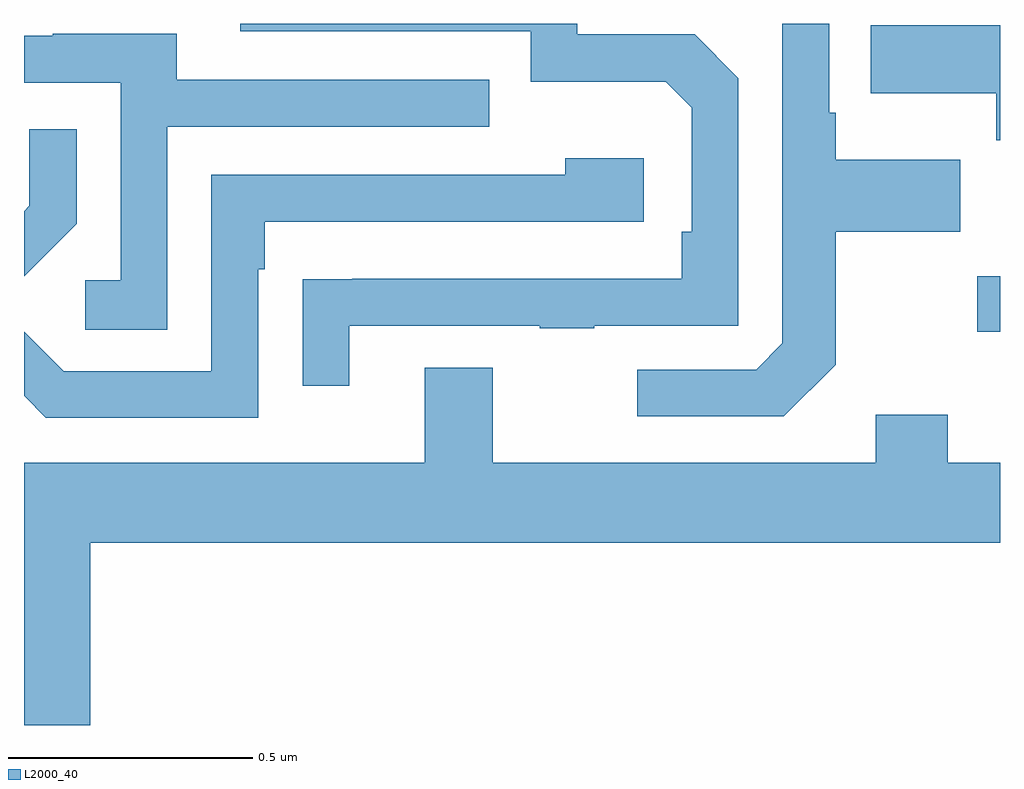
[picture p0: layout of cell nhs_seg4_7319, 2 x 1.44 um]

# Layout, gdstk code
import gdstk
lib = gdstk.Library(unit=1e-6, precision=1e-09)
def R(c, l, rs):  # rectangles x0, y0, x1, y1
    for r in rs: c.add(gdstk.rectangle(r[:2], r[2:], *l))
def P(c, l, *ps):  # polygons
    for p in ps: c.add(gdstk.Polygon(p, *l))
L2000_40 = (2000, 40)

nhs_seg4_7319 = lib.new_cell('nhs_seg4_7319')
R(nhs_seg4_7319, L2000_40, [(202.953,781.269,203,781.382)])
P(nhs_seg4_7319, L2000_40, [(202.663,781.201),(202.663,781.474),(202.919,781.474),(202.919,781.621),(202.663,781.621),(202.663,781.717),(202.65,781.717),(202.65,781.9),(202.554,781.9),(202.554,781.245),(202.5,781.191),(202.257,781.191),(202.257,781.095),(202.557,781.095)],
  [(201.667,781.281),(202.057,781.281),(202.057,781.276),(202.169,781.276),(202.169,781.281),(202.464,781.281),(202.464,781.788),(202.374,781.878),(202.134,781.878),(202.134,781.9),(201.443,781.9),(201.443,781.884),(202.038,781.884),(202.038,781.781),(202.315,781.781),(202.368,781.728),(202.368,781.474),(202.348,781.474),(202.348,781.377),(201.673,781.377),(201.673,781.376),(201.571,781.376),(201.571,781.158),(201.667,781.158)],
  [(203,781.897),(202.735,781.897),(202.735,781.757),(202.992,781.757),(202.992,781.661),(203,781.661)],
  [(201.294,781.689),(201.953,781.689),(201.953,781.785),(201.313,781.785),(201.313,781.879),(201.059,781.879),(201.059,781.875),(201,781.875),(201,781.779),(201.198,781.779),(201.198,781.374),(201.126,781.374),(201.126,781.273),(201.294,781.273)],
  [(201.108,781.49),(201.108,781.684),(201.011,781.684),(201.011,781.527),(201,781.516),(201,781.382)],
  [(201.48,781.397),(201.493,781.397),(201.493,781.494),(202.27,781.494),(202.27,781.624),(202.109,781.624),(202.109,781.59),(201.384,781.59),(201.384,781.188),(201.081,781.188),(201,781.269),(201,781.137),(201.045,781.092),(201.48,781.092)],
  [(201.136,780.836),(203,780.836),(203,781),(202.893,781),(202.893,781.099),(202.745,781.099),(202.745,781),(201.961,781),(201.961,781.195),(201.821,781.195),(201.821,781),(201,781),(201,780.462),(201.136,780.462)])

lib.write_gds('nhs_seg4_7319.gds')
